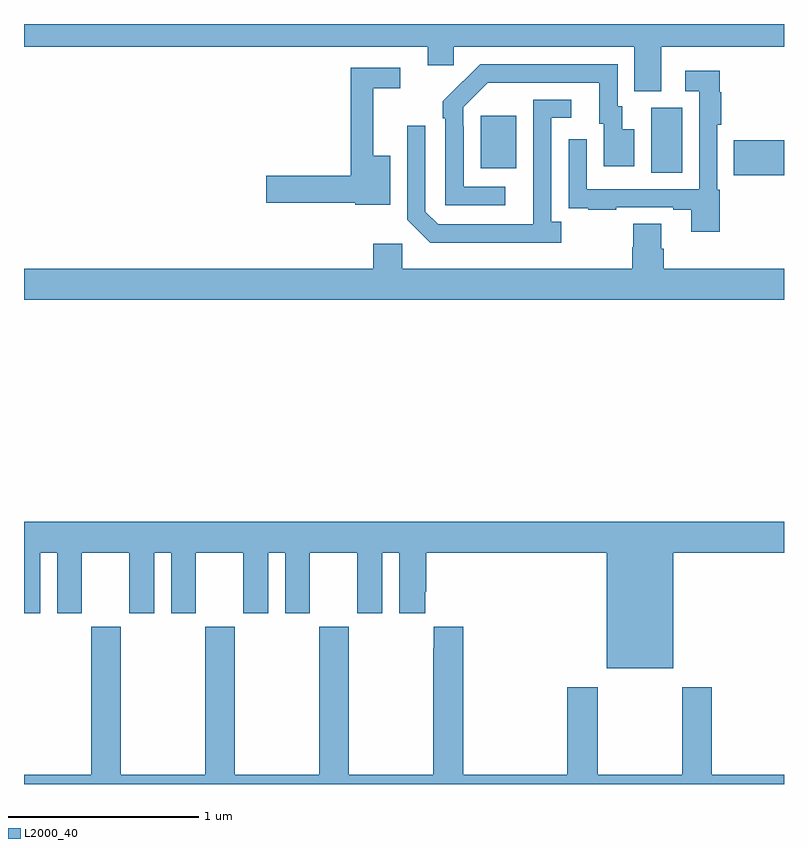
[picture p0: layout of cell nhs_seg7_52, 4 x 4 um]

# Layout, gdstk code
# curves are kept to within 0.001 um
import gdstk
lib = gdstk.Library(unit=1e-6, precision=1e-09)
def R(c, l, rs):  # rectangles x0, y0, x1, y1
    for r in rs: c.add(gdstk.rectangle(r[:2], r[2:], *l))
def P(c, l, *ps):  # polygons
    for p in ps: c.add(gdstk.Polygon(p, *l))
L2000_40 = (2000, 40)

nhs_seg7_52 = lib.new_cell('nhs_seg7_52')
R(nhs_seg7_52, L2000_40, [(116.736,1069.205,117,1069.388), (116.3,1069.216,116.464,1069.56), (115.403,1069.241,115.591,1069.516)])
P(nhs_seg7_52, L2000_40, [(116.353,1069.88),(117,1069.88),(117,1070),(113,1070),(113,1069.88),(115.124,1069.88),(115.124,1069.782),(115.263,1069.782),(115.263,1069.88),(116.213,1069.88),(116.213,1069.645),(116.353,1069.645)],
  [(115.534,1069.143),(115.314,1069.143),(115.314,1069.463),(115.311,1069.463),(115.311,1069.563),(115.44,1069.692),(116.027,1069.692),(116.027,1069.476),(116.051,1069.476),(116.051,1069.251),(116.212,1069.251),(116.212,1069.447),(116.149,1069.447),(116.149,1069.566),(116.124,1069.566),(116.124,1069.788),(115.4,1069.788),(115.203,1069.593),(115.203,1069.505),(115.218,1069.505),(115.218,1069.047),(115.534,1069.047)],
  [(114.928,1069.306),(114.839,1069.306),(114.839,1069.662),(114.979,1069.662),(114.979,1069.77),(114.721,1069.77),(114.721,1069.202),(114.276,1069.202),(114.276,1069.06),(114.744,1069.06),(114.744,1069.049),(114.928,1069.049)],
  [(116.662,1069.128),(116.649,1069.128),(116.649,1069.471),(116.669,1069.471),(116.669,1069.64),(116.662,1069.64),(116.662,1069.753),(116.481,1069.753),(116.481,1069.647),(116.553,1069.647),(116.553,1069.131),(115.962,1069.131),(115.962,1069.393),(115.866,1069.393),(115.866,1069.138),(115.867,1069.138),(115.867,1069.029),(115.969,1069.029),(115.969,1069.023),(116.117,1069.023),(116.117,1069.035),(116.417,1069.035),(116.417,1069.023),(116.513,1069.023),(116.513,1068.906),(116.662,1068.906)],
  [(115.828,1068.958),(115.776,1068.958),(115.776,1069.506),(115.879,1069.506),(115.879,1069.602),(115.68,1069.602),(115.679,1068.945),(115.179,1068.945),(115.113,1069.011),(115.113,1069.465),(115.017,1069.465),(115.017,1068.969),(115.138,1068.848),(115.828,1068.848)],
  [(117,1068.712),(116.366,1068.712),(116.366,1068.818),(116.353,1068.818),(116.353,1068.95),(116.206,1068.95),(116.206,1068.825),(116.201,1068.825),(116.201,1068.712),(114.99,1068.712),(114.99,1068.844),(114.839,1068.844),(114.839,1068.712),(113,1068.712),(113,1068.548),(117,1068.548)],
  [(116.416,1067.216),(117,1067.216),(117,1067.38),(113,1067.38),(113,1066.899),(113.086,1066.899),(113.086,1067.216),(113.174,1067.216),(113.174,1066.899),(113.305,1066.899),(113.305,1067.216),(113.555,1067.216),(113.555,1066.899),(113.686,1066.899),(113.686,1067.216),(113.774,1067.216),(113.774,1066.899),(113.905,1066.899),(113.905,1067.216),(114.155,1067.216),(114.155,1066.899),(114.286,1066.899),(114.286,1067.216),(114.374,1067.216),(114.374,1066.899),(114.505,1066.899),(114.505,1067.216),(114.755,1067.216),(114.755,1066.899),(114.886,1066.899),(114.886,1067.216),(114.974,1067.216),(114.974,1066.899),(115.111,1066.899),(115.111,1067.011),(115.118,1067.011),(115.118,1067.216),(116.066,1067.216),(116.066,1066.61),(116.416,1066.61)],
  [(117,1066.048),(116.619,1066.048),(116.619,1066.51),(116.464,1066.51),(116.464,1066.048),(116.019,1066.048),(116.019,1066.51),(115.859,1066.51),(115.859,1066.048),(115.313,1066.048),(115.313,1066.828),(115.157,1066.828),(115.157,1066.715),(115.153,1066.715),(115.153,1066.048),(114.708,1066.048),(114.708,1066.828),(114.553,1066.828),(114.553,1066.048),(114.108,1066.048),(114.108,1066.828),(113.953,1066.828),(113.953,1066.048),(113.508,1066.048),(113.508,1066.828),(113.353,1066.828),(113.353,1066.048),(113,1066.048),(113,1066),(117,1066)])

lib.write_gds('nhs_seg7_52.gds')
